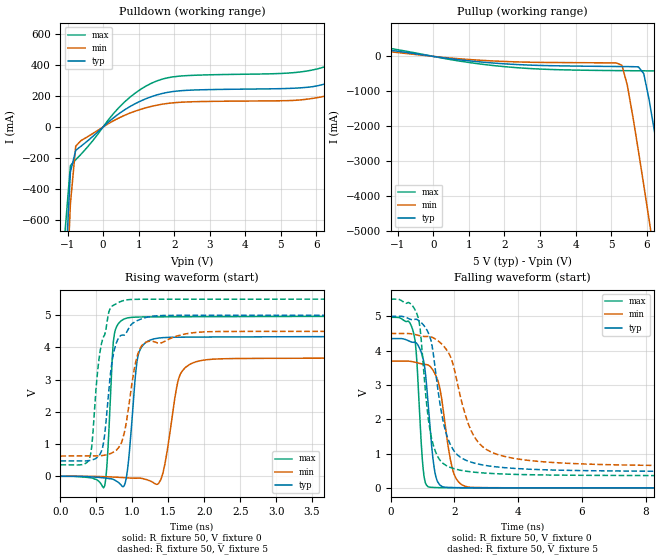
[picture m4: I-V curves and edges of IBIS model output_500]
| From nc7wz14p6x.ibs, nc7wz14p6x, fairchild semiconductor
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[Model] output_500
Model_type Output
Vmeas = 2.5V
Cref = 50.0pF
Rref = 500.0
Vref = 5.0V
C_comp   2.75pF   1.5pF   4.0pF
[Model Spec]
Vmeas   2.5V   2.25V   2.75V
[Voltage Range]   5.0V   4.5V   5.5V
[Temperature Range]   25.0   85.0   -40.0
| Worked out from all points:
|   slope of the pulldown table from 0 to 0.75 V, typ, clamps not added: 5.74 ohm
|   slope of the pullup table from 0 to 0.75 V, typ, clamps not added: 7.58 ohm
|   rising waveform, R_fixture 50, V_fixture 0: 20-80 % time 96.8ps typ, 153ps min, 65.5ps max; typ from 0 V to 4.35 V
|   falling waveform, R_fixture 50, V_fixture 0: 20-80 % time 253ps typ, 363ps min, 181ps max; typ from 4.35 V to 0 V
|   rising waveform, R_fixture 50, V_fixture 5: 20-80 % time 151ps typ, 173ps min, 171ps max; typ from 0.476 V to 5 V
|   falling waveform, R_fixture 50, V_fixture 5: 20-80 % time 508ps typ, 769ps min, 356ps max; typ from 5 V to 0.477 V
[Pullup]
-5V       627.5mA    504.7mA    761.9mA
1.675V    -189mA     -130.4mA   -260.6mA
5.305V    -291.2mA   -256.6mA   -408.7mA
5.455V    -292.5mA   -818.2mA   -409.9mA
5.92V     -497.9mA   -3.698A    -413.4mA
6.07V     -1.245A    -4.693A    -414.8mA
6.37V     -3.099A    -6.711A    -427.4mA
6.52V     -4.069A    -7.729A    -775.9mA
6.67V     -5.051A    -8.751A    -1.62A
7.135V    -8.133A    -11.93A    -4.584A
7.285V    -9.134A    -12.97A    -5.566A
10V       -27.44A    -31.76A    -23.66A
[Pulldown]
-5V       -27.12A    -28.08A    -26.57A
-1.07V    -976.3mA   -1.298A    -672.5mA
-920mV    -289.8mA   -495.3mA   -249.7mA
-770mV    -151.1mA   -123.4mA   -211.4mA
595mV     108.9mA    73.97mA    159.3mA
1.51V     206.5mA    140.3mA    296.7mA
5.44V     250.6mA    172.2mA    352mA
6.505V    298.7mA    212.4mA    413.6mA
7.57V     449.2mA    301.3mA    645mA
8.47V     675.8mA    401.5mA    999.4mA
9.535V    1.014A     640mA      1.618A
10V       1.244A     789.7mA    1.884A
[Rising Waveform]
R_fixture=50
V_fixture=0
V_fixture_min=0
V_fixture_max=0
0s        0V         0V         0V
615ps     -53.22mV   -12.39mV   -298.6mV
750ps     -112.9mV   -25.05mV   4.415V
885ps     -299.8mV   -42.93mV   4.881V
960ps     782.8mV    -55.04mV   4.927V
1.08ns    3.748V     -55.74mV   4.944V
1.365ns   4.292V     -221.8mV   4.95V
1.65ns    4.319V     3.072V     4.953V
2.01ns    4.323V     3.612V     4.956V
15ns      4.35V      3.693V     4.97V
[Falling Waveform]
R_fixture=50
V_fixture=0
V_fixture_min=0
V_fixture_max=0
0s        4.351V     3.695V     4.97V
735ps     4.244V     3.669V     4.45V
810ps     4.218V     3.653V     3.855V
1.005ns   3.816V     3.61V      695mV
1.185ns   2.331V     3.576V     28.05mV
1.335ns   794.9mV    3.419V     11.63mV
1.47ns    184.2mV    3.15V      7.152mV
1.95ns    8.571mV    516.4mV    2.839mV
2.385ns   3.813mV    33.74mV    1.933mV
15ns      9.082uV    32.06uV    13.77uV
[Rising Waveform]
R_fixture=50
V_fixture=5
V_fixture_min=4.5
V_fixture_max=5.5
0s        476.3mV    629.4mV    354.9mV
405ps     489.3mV    627.3mV    554.3mV
555ps     706.9mV    636.3mV    3.924V
615ps     1.283V     655.4mV    4.395V
735ps     3.774V     749.7mV    5.307V
915ps     4.449V     1.654V     5.475V
1.035ns   4.796V     3.426V     5.494V
1.125ns   4.886V     4.04V      5.496V
1.89ns    4.998V     4.467V     5.498V
15ns      5V         4.5V       5.5V
[Falling Waveform]
R_fixture=50
V_fixture=5
V_fixture_min=4.5
V_fixture_max=5.5
0s        5V         4.5V       5.5V
855ps     4.893V     4.45V      4.987V
945ps     4.83V      4.427V     4.458V
1.17ns    4.542V     4.416V     2.09V
1.455ns   3.055V     4.307V     949.1mV
1.65ns    1.926V     4.146V     709.3mV
1.86ns    1.288V     3.854V     598.9mV
2.565ns   736.1mV    1.59V      461.4mV
3.465ns   596.4mV    940mV      405.6mV
15ns      476.7mV    630.7mV    355mV
[Ramp]
R_load = 50
dV/dt_r   2.610284E0/9E-11   2.215638E0/1.5E-10   2.982142E0/6E-11
dV/dt_f   2.713988E0/5.1E-10   2.321562E0/7.65E-10   3.087019E0/3.6E-10
